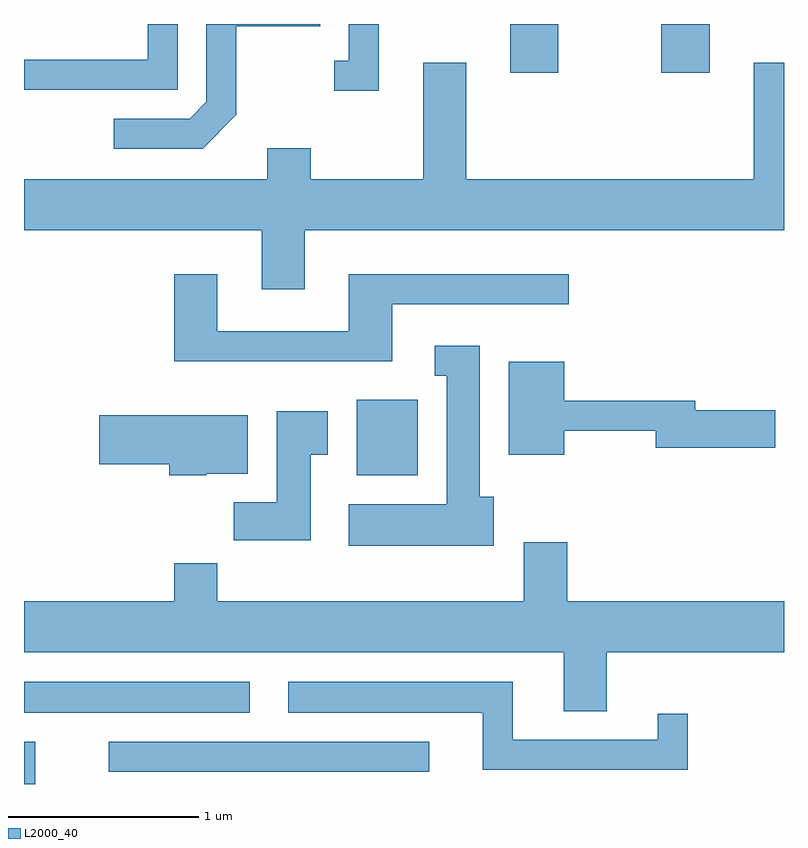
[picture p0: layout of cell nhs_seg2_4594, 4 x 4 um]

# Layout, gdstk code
import gdstk
lib = gdstk.Library(unit=1e-6, precision=1e-09)
def R(c, l, rs):  # rectangles x0, y0, x1, y1
    for r in rs: c.add(gdstk.rectangle(r[:2], r[2:], *l))
def P(c, l, *ps):  # polygons
    for p in ps: c.add(gdstk.Polygon(p, *l))
L2000_40 = (2000, 40)

nhs_seg2_4594 = lib.new_cell('nhs_seg2_4594')
R(nhs_seg2_4594, L2000_40, [(319.611,1089.802,319.669,1090.024), (320.058,1089.866,321.743,1090.024), (319.611,1090.176,320.798,1090.339), (321.361,1091.426,321.684,1091.824), (322.171,1093.546,322.424,1093.802), (322.966,1093.546,323.219,1093.802)])
P(nhs_seg2_4594, L2000_40, [(320.419,1093.802),(320.261,1093.802),(320.261,1093.614),(319.611,1093.614),(319.611,1093.456),(320.419,1093.456)],
  [(321.479,1093.802),(321.321,1093.802),(321.321,1093.609),(321.243,1093.609),(321.243,1093.451),(321.479,1093.451)],
  [(320.729,1093.324),(320.729,1093.791),(321.169,1093.791),(321.169,1093.802),(320.571,1093.802),(320.571,1093.392),(320.484,1093.304),(320.083,1093.304),(320.083,1093.146),(320.552,1093.146)],
  [(321.089,1092.716),(323.611,1092.716),(323.611,1093.599),(323.451,1093.599),(323.451,1092.984),(321.939,1092.984),(321.939,1093.599),(321.711,1093.599),(321.711,1092.984),(321.119,1092.984),(321.119,1093.149),(320.891,1093.149),(320.891,1092.984),(319.611,1092.984),(319.611,1092.716),(320.861,1092.716),(320.861,1092.406),(321.089,1092.406)],
  [(321.549,1092.326),(322.478,1092.326),(322.478,1092.484),(321.321,1092.484),(321.321,1092.184),(320.629,1092.184),(320.629,1092.484),(320.401,1092.484),(320.401,1092.026),(321.549,1092.026)],
  [(322.084,1091.314),(322.009,1091.314),(322.009,1092.109),(321.773,1092.109),(321.773,1091.951),(321.836,1091.951),(321.836,1091.274),(321.321,1091.274),(321.321,1091.056),(322.084,1091.056)],
  [(322.454,1091.661),(322.936,1091.661),(322.936,1091.571),(323.564,1091.571),(323.564,1091.769),(323.144,1091.769),(323.144,1091.819),(322.454,1091.819),(322.454,1092.024),(322.161,1092.024),(322.161,1091.536),(322.454,1091.536)],
  [(321.119,1091.536),(321.209,1091.536),(321.209,1091.764),(320.941,1091.764),(320.941,1091.284),(320.716,1091.284),(320.716,1091.086),(321.119,1091.086)],
  [(320.57,1091.436),(320.789,1091.436),(320.789,1091.744),(320.006,1091.744),(320.006,1091.486),(320.376,1091.486),(320.376,1091.426),(320.57,1091.426)],
  [(322.679,1090.496),(323.611,1090.496),(323.611,1090.764),(322.469,1090.764),(322.469,1091.074),(322.241,1091.074),(322.241,1090.764),(320.629,1090.764),(320.629,1090.964),(320.401,1090.964),(320.401,1090.764),(319.611,1090.764),(319.611,1090.496),(322.451,1090.496),(322.451,1090.186),(322.679,1090.186)],
  [(323.104,1090.173),(322.946,1090.173),(322.946,1090.034),(322.184,1090.034),(322.184,1090.339),(321.003,1090.339),(321.003,1090.176),(322.026,1090.176),(322.026,1089.876),(323.104,1089.876)])

lib.write_gds('nhs_seg2_4594.gds')
